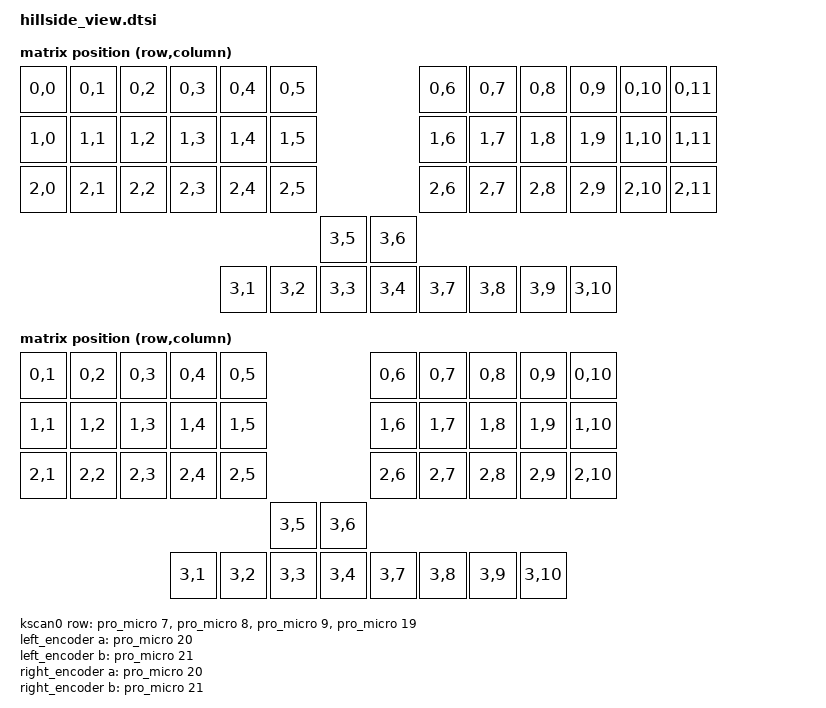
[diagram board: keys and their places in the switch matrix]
/*
 * Copyright (c) 2022 The ZMK Contributors
 *
 * SPDX-License-Identifier: MIT
 */

#include <dt-bindings/zmk/matrix_transform.h>
#include <dt-bindings/led/led.h>
#include "layouts.dtsi"

&hsv_6col_layout {
  transform = <&default_transform>;
};

&hsv_5col_layout {
  transform = <&five_column_transform>;
};

/ {
  chosen: chosen {
    zmk,kscan = &kscan0;
    zmk,physical-layout = &hsv_6col_layout;
    zmk,underglow = &led_strip;
  };

  default_transform: keymap_transform_0 {
    compatible = "zmk,matrix-transform";
    columns = <12>;
    rows = <4>;
// | SW1  | SW2  | SW3  | SW4  | SW5  | SW6  |                                 | SW6  | SW5  | SW4  | SW3  | SW2  | SW1  |
// | SW7  | SW8  | SW9  | SW10 | SW11 | SW12 |                                 | SW12 | SW11 | SW10 | SW9  | SW8  | SW7  |
// | SW13 | SW14 | SW15 | SW16 | SW17 | SW18 |                                 | SW18 | SW17 | SW16 | SW15 | SW14 | SW13 |
//                                           | SW19 |                   | SW19 |
//                             | SW20 | SW21 | SW22 | SW23 |     | SW23 | SW22 | SW21 | SW20 |
    map = <
RC(0,0) RC(0,1) RC(0,2) RC(0,3) RC(0,4) RC(0,5)                                       RC(0,6) RC(0,7) RC(0,8) RC(0,9) RC(0,10) RC(0,11)
RC(1,0) RC(1,1) RC(1,2) RC(1,3) RC(1,4) RC(1,5)                                       RC(1,6) RC(1,7) RC(1,8) RC(1,9) RC(1,10) RC(1,11)
RC(2,0) RC(2,1) RC(2,2) RC(2,3) RC(2,4) RC(2,5)                                       RC(2,6) RC(2,7) RC(2,8) RC(2,9) RC(2,10) RC(2,11)
                                                RC(3,5)                       RC(3,6)
                                RC(3,1) RC(3,2) RC(3,3) RC(3,4)       RC(3,7) RC(3,8) RC(3,9) RC(3,10)
    >;

  };

  five_column_transform: keymap_transform_1 {
    compatible = "zmk,matrix-transform";
    columns = <10>;
    rows = <4>;
// | SW2  | SW3  | SW4  | SW5  | SW6  |                                 | SW6  | SW5  | SW4  | SW3  | SW2  |
// | SW8  | SW9  | SW10 | SW11 | SW12 |                                 | SW12 | SW11 | SW10 | SW9  | SW8  |
// | SW14 | SW15 | SW16 | SW17 | SW18 |                                 | SW18 | SW17 | SW16 | SW15 | SW14 |
//                                    | SW19 |                   | SW19 |
//                      | SW20 | SW21 | SW22 | SW23 |     | SW23 | SW22 | SW21 | SW20 |
    map = <
RC(0,1) RC(0,2) RC(0,3) RC(0,4) RC(0,5)                                       RC(0,6) RC(0,7) RC(0,8) RC(0,9) RC(0,10)
RC(1,1) RC(1,2) RC(1,3) RC(1,4) RC(1,5)                                       RC(1,6) RC(1,7) RC(1,8) RC(1,9) RC(1,10)
RC(2,1) RC(2,2) RC(2,3) RC(2,4) RC(2,5)                                       RC(2,6) RC(2,7) RC(2,8) RC(2,9) RC(2,10)
                                        RC(3,5)                       RC(3,6)
                        RC(3,1) RC(3,2) RC(3,3) RC(3,4)       RC(3,7) RC(3,8) RC(3,9) RC(3,10)
    >;
  };

  kscan0: kscan {
    compatible = "zmk,kscan-gpio-matrix";
    wakeup-source;

    diode-direction = "col2row";
    row-gpios
      = <&pro_micro 7 (GPIO_ACTIVE_HIGH | GPIO_PULL_DOWN)>
      , <&pro_micro 8 (GPIO_ACTIVE_HIGH | GPIO_PULL_DOWN)>
      , <&pro_micro 9 (GPIO_ACTIVE_HIGH | GPIO_PULL_DOWN)>
      , <&pro_micro 19 (GPIO_ACTIVE_HIGH | GPIO_PULL_DOWN)>
      ;

  };

  sensors {
    compatible = "zmk,keymap-sensors";
    sensors = <&left_encoder &right_encoder>;
    left {
      // EVQWK
      triggers-per-rotation = <15>;
    };
    right {
      // EC11
      triggers-per-rotation = <20>;
    };
  };

  left_encoder: encoder_left {
    status = "disabled";
    compatible = "alps,ec11";
    a-gpios = <&pro_micro 20 (GPIO_ACTIVE_HIGH | GPIO_PULL_UP)>;
    b-gpios = <&pro_micro 21 (GPIO_ACTIVE_HIGH | GPIO_PULL_UP)>;
    steps = <30>;
  };

  right_encoder: encoder_right {
    status = "disabled";
    compatible = "alps,ec11";
    a-gpios = <&pro_micro 20 (GPIO_ACTIVE_HIGH | GPIO_PULL_UP)>;
    b-gpios = <&pro_micro 21 (GPIO_ACTIVE_HIGH | GPIO_PULL_UP)>;
    steps = <80>;
  };
};

&pinctrl {
  spi1_default: spi1_default {
    group1 {
      psels = <NRF_PSEL(SPIM_SCK, 0, 20)>,
        <NRF_PSEL(SPIM_MOSI, 0, 17)>,
        <NRF_PSEL(SPIM_MISO, 0, 25)>;
    };
  };
  spi1_sleep: spi1_sleep {
    group1 {
      psels = <NRF_PSEL(SPIM_SCK, 0, 20)>,
        <NRF_PSEL(SPIM_MOSI, 0, 17)>,
        <NRF_PSEL(SPIM_MISO, 0, 25)>;
      low-power-enable;
    };
  };
  spi3_default: spi3_default {
    group1 {
      psels = <NRF_PSEL(SPIM_MOSI, 0, 6)>;
    };
  };

  spi3_sleep: spi3_sleep {
    group1 {
      psels = <NRF_PSEL(SPIM_MOSI, 0, 6)>;
      low-power-enable;
    };
  };
  
  i2c0_default: i2c0_default {
    group1 {
      psels = <NRF_PSEL(TWIM_SDA, 1, 0)>,
          <NRF_PSEL(TWIM_SCL, 0, 24)>;
    };
  };

  i2c0_sleep: i2c0_sleep {
    group1 {
      psels = <NRF_PSEL(TWIM_SDA, 1, 0)>,
          <NRF_PSEL(TWIM_SCL, 0, 24)>;
      low-power-enable;
    };
  };
};

&spi3 {
  compatible = "nordic,nrf-spim";
  status = "okay";

  pinctrl-0 = <&spi3_default>;
  pinctrl-1 = <&spi3_sleep>;
  pinctrl-names = "default", "sleep";

  led_strip: ws2812@0 {
    compatible = "worldsemi,ws2812-spi";

    /* SPI */
    reg = <0>; /* ignored, but necessary for SPI bindings */
    spi-max-frequency = <4000000>;

    /* WS2812 */
    chain-length = <4>; /* arbitrary; change at will */
    spi-one-frame = <0x70>;
    spi-zero-frame = <0x40>;

    color-mapping = <LED_COLOR_ID_GREEN LED_COLOR_ID_RED LED_COLOR_ID_BLUE>;
  };
};

&i2c0 {
  status = "disabled";
  glidepoint0: glidepoint@2a {
    compatible = "cirque,pinnacle";
    reg = <0x2a>;
    status = "disabled";
    dr-gpios = <&gpio1 2 (GPIO_ACTIVE_HIGH)>;

    sensitivity = "1x";
    sleep;
    // no-taps;
  };
};

// / {
// 	/* assign `input-listener` to all pointing devices */
// 	/* &glidepoint0 on central, &glidepoint1 on peripheral */
//     tpad_central_listener {
//         compatible = "zmk,input-listener";
//         device = <&glidepoint0>;
// 	};

//     tpad_peripheral_listener {
//         compatible = "zmk,input-listener";
//         device = <&glidepoint1>;
//         y-invert;
//         // xy-swap;
//         // x-invert;
//         scale-multiplier = <3>;
// 	};
// };

nice_view_spi: &spi1 {
  compatible = "nordic,nrf-spim";
  pinctrl-0 = <&spi1_default>;
  pinctrl-1 = <&spi1_sleep>;
  pinctrl-names = "default", "sleep";
  cs-gpios = <&gpio0 22 GPIO_ACTIVE_HIGH>;
  status = "disabled";

  nice_view: ls0xx@0 {
    status = "disabled";
    compatible = "sharp,ls0xx";
    spi-max-frequency = <1000000>;
    reg = <0>;
    width = <160>;
    height = <68>;
  };
};
